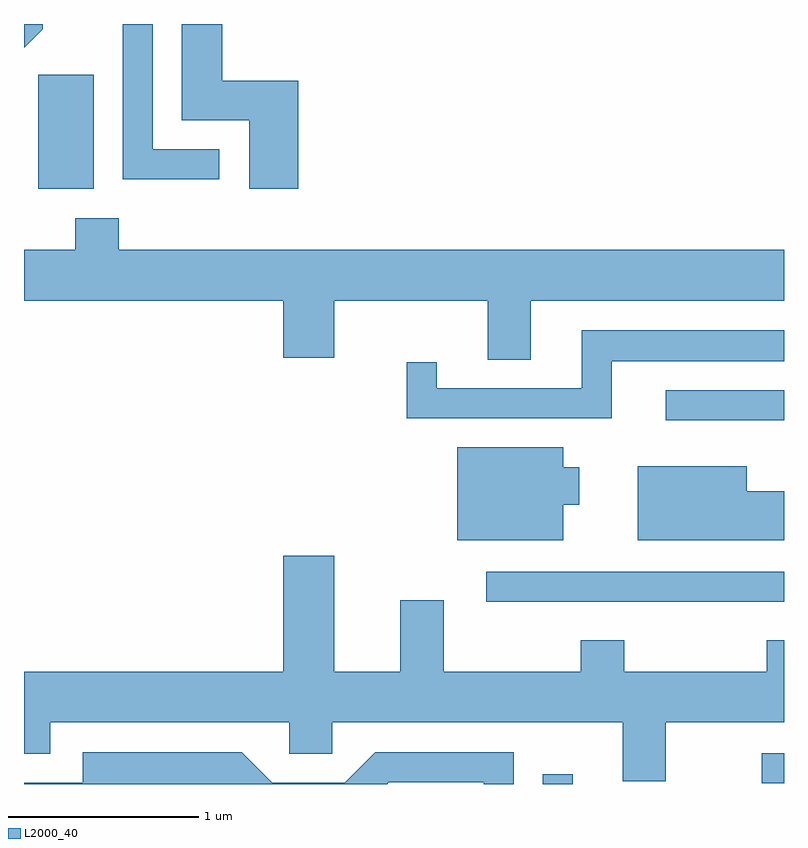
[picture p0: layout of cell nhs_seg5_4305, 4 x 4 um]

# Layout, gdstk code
import gdstk
lib = gdstk.Library(unit=1e-6, precision=1e-09)
def R(c, l, rs):  # rectangles x0, y0, x1, y1
    for r in rs: c.add(gdstk.rectangle(r[:2], r[2:], *l))
def P(c, l, *ps):  # polygons
    for p in ps: c.add(gdstk.Polygon(p, *l))
L2000_40 = (2000, 40)

nhs_seg5_4305 = lib.new_cell('nhs_seg5_4305')
R(nhs_seg5_4305, L2000_40, [(316.341,1412.072,316.499,1412.123), (317.493,1412.076,317.611,1412.234), (316.043,1413.031,317.611,1413.189), (316.988,1413.986,317.611,1414.144), (313.686,1415.206,313.979,1415.804)])
P(nhs_seg5_4305, L2000_40, [(315.054,1415.774),(314.654,1415.774),(314.654,1416.072),(314.441,1416.072),(314.441,1415.566),(314.796,1415.566),(314.796,1415.206),(315.054,1415.206)],
  [(314.638,1415.414),(314.289,1415.414),(314.289,1416.072),(314.131,1416.072),(314.131,1415.256),(314.638,1415.256)],
  [(313.709,1416.044),(313.709,1416.072),(313.611,1416.072),(313.611,1415.946)],
  [(316.279,1414.616),(317.611,1414.616),(317.611,1414.884),(314.109,1414.884),(314.109,1415.049),(313.881,1415.049),(313.881,1414.884),(313.611,1414.884),(313.611,1414.616),(314.976,1414.616),(314.976,1414.316),(315.244,1414.316),(315.244,1414.616),(316.051,1414.616),(316.051,1414.306),(316.279,1414.306)],
  [(316.704,1414.296),(317.611,1414.296),(317.611,1414.459),(316.546,1414.459),(316.546,1414.154),(315.784,1414.154),(315.784,1414.293),(315.626,1414.293),(315.626,1413.996),(316.704,1413.996)],
  [(316.449,1413.541),(316.534,1413.541),(316.534,1413.739),(316.449,1413.739),(316.449,1413.844),(315.891,1413.844),(315.891,1413.356),(316.449,1413.356)],
  [(317.611,1413.614),(317.414,1413.614),(317.414,1413.744),(316.841,1413.744),(316.841,1413.356),(317.611,1413.356)],
  [(316.989,1412.396),(317.611,1412.396),(317.611,1412.829),(317.521,1412.829),(317.521,1412.664),(316.769,1412.664),(316.769,1412.829),(316.541,1412.829),(316.541,1412.664),(315.819,1412.664),(315.819,1413.039),(315.591,1413.039),(315.591,1412.664),(315.244,1412.664),(315.244,1413.274),(314.976,1413.274),(314.976,1412.664),(313.611,1412.664),(313.611,1412.231),(313.749,1412.231),(313.749,1412.396),(315.006,1412.396),(315.006,1412.231),(315.234,1412.231),(315.234,1412.396),(316.761,1412.396),(316.761,1412.086),(316.989,1412.086)],
  [(315.532,1412.081),(316.031,1412.081),(316.031,1412.072),(316.189,1412.072),(316.189,1412.239),(315.459,1412.239),(315.299,1412.079),(314.917,1412.079),(314.757,1412.239),(313.921,1412.239),(313.921,1412.079),(313.611,1412.079),(313.611,1412.072),(315.523,1412.072)])

lib.write_gds('nhs_seg5_4305.gds')
